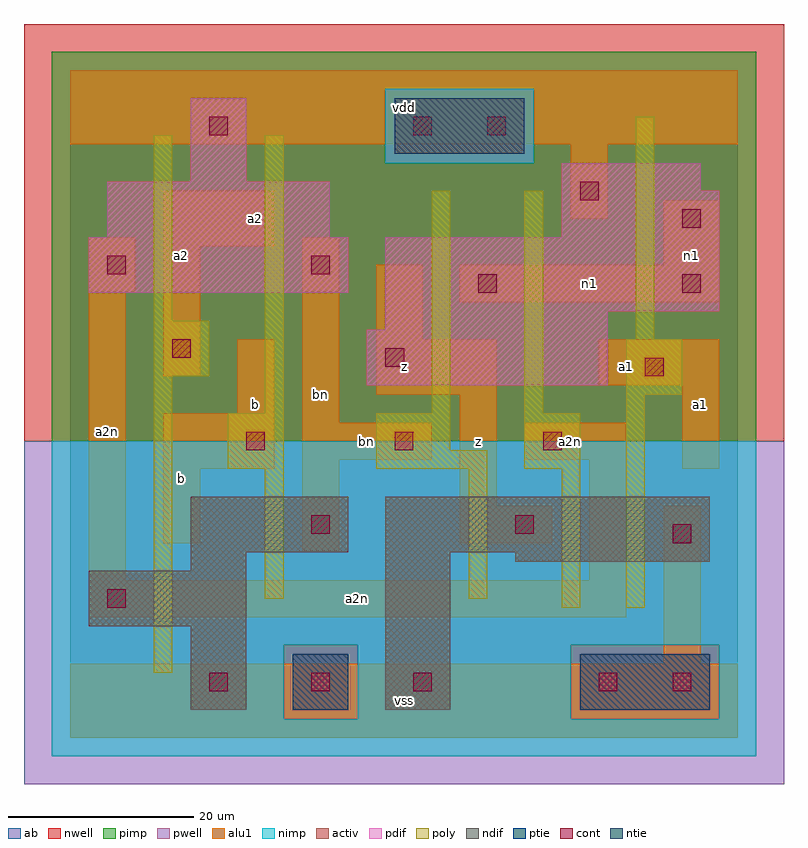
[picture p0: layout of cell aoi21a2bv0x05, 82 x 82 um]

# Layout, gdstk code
import gdstk
lib = gdstk.Library(unit=1e-6, precision=1e-09)
def R(c, l, rs):  # rectangles x0, y0, x1, y1
    for r in rs: c.add(gdstk.rectangle(r[:2], r[2:], *l))
def A(c, l, x, y, w, h, nx, ny, dx, dy):  # array of equal rectangles
    R(c, l, [(x+i*dx, y+j*dy, x+i*dx+w, y+j*dy+h) for i in range(nx) for j in range(ny)])
ndif = (3, 0)
pdif = (4, 0)
ntie = (5, 0)
ptie = (6, 0)
cont = (25, 0)
pwell = (41, 0)
nwell = (42, 0)
activ = (43, 0)
pimp = (44, 0)
nimp = (45, 0)
poly = (46, 0)
alu1 = (49, 0)
ab = (63, 0)

aoi21a2bv0x05 = lib.new_cell('aoi21a2bv0x05')
R(aoi21a2bv0x05, ndif, [(13,3,19,12), (34,3,41,20), (2,12,19,18), (13,18,19,20), (48,19,69,20), (13,20,30,26), (34,20,69,26)])
R(aoi21a2bv0x05, pdif, [(32,38,58,44), (34,44,58,46), (34,46,70,54), (2,48,30,54), (4,54,28,60), (53,54,70,59), (53,59,68,62), (13,60,19,69)])
R(aoi21a2bv0x05, ntie, [(35,63,49,69)])
R(aoi21a2bv0x05, ptie, [(24,3,30,9), (55,3,69,9)])
A(aoi21a2bv0x05, cont, 15, 5, 2, 2, 3, 1, 11, 0)
A(aoi21a2bv0x05, cont, 19, 31, 2, 2, 3, 1, 16, 0)
R(aoi21a2bv0x05, cont, [(57,5,59,7), (65,5,67,7), (4,14,6,16), (65,21,67,23), (26,22,28,24), (48,22,50,24), (62,39,64,41), (34,40,36,42), (11,41,13,43), (44,48,46,50), (66,48,68,50), (4,50,6,52), (26,50,28,52), (66,55,68,57), (55,58,57,60), (15,65,17,67), (37,65,39,67), (45,65,47,67)])
R(aoi21a2bv0x05, pwell, [(-5,-5,77,32)])
R(aoi21a2bv0x05, nwell, [(-5,32,77,77)])
R(aoi21a2bv0x05, activ, [(13,3,19,12), (24,3,30,9), (34,3,41,20), (55,3,69,9), (2,12,19,18), (13,18,19,20), (48,19,69,20), (13,20,30,26), (34,20,69,26), (32,38,58,44), (34,44,58,46), (34,46,70,54), (2,48,30,54), (4,54,28,60), (53,54,70,59), (53,59,68,62), (13,60,19,69), (35,63,49,69)])
R(aoi21a2bv0x05, pimp, [(23,2,31,10), (54,2,70,10), (-2,32,74,62), (-2,62,34,70), (50,62,74,70), (-2,70,74,74)])
R(aoi21a2bv0x05, nimp, [(-2,-2,74,2), (-2,2,23,10), (31,2,54,10), (70,2,74,10), (-2,10,74,32), (34,62,50,70)])
R(aoi21a2bv0x05, poly, [(9,7,11,39), (53,14,55,29), (60,14,62,37), (21,15,23,29), (43,15,45,29), (17,29,23,35), (33,29,45,31), (49,29,55,35), (33,31,41,35), (21,35,23,65), (39,35,41,59), (49,35,51,59), (60,37,66,43), (9,39,15,45), (61,43,63,67), (9,45,11,65)])
R(aoi21a2bv0x05, alu1, [(0,0,72,8), (64,8,68,25), (2,13,60,17), (2,17,6,48), (56,17,60,30), (25,20,29,30), (10,21,14,29), (42,21,52,25), (42,25,46,37), (10,29,22,35), (66,29,70,38), (25,30,39,34), (49,30,60,34), (25,34,29,54), (18,35,22,43), (33,37,46,43), (57,38,70,43), (10,39,14,53), (33,43,38,51), (42,47,70,51), (2,48,7,54), (64,51,70,58), (10,53,22,59), (54,56,58,64), (0,64,72,72)])
R(aoi21a2bv0x05, ab, [(0,0,72,72)])
aoi21a2bv0x05.add(gdstk.Label('a2n', (4,33), layer=49, texttype=0))
aoi21a2bv0x05.add(gdstk.Label('bn', (27,37), layer=49, texttype=0))
aoi21a2bv0x05.add(gdstk.Label('bn', (32,32), layer=49, texttype=0))
aoi21a2bv0x05.add(gdstk.Label('a2n', (31,15), layer=49, texttype=0))
aoi21a2bv0x05.add(gdstk.Label('a2n', (54,32), layer=49, texttype=0))
aoi21a2bv0x05.add(gdstk.Label('n1', (56,49), layer=49, texttype=0))
aoi21a2bv0x05.add(gdstk.Label('n1', (67,52), layer=49, texttype=0))
aoi21a2bv0x05.add(gdstk.Label('b', (12,28), layer=49, texttype=0))
aoi21a2bv0x05.add(gdstk.Label('a2', (12,52), layer=49, texttype=0))
aoi21a2bv0x05.add(gdstk.Label('b', (20,36), layer=49, texttype=0))
aoi21a2bv0x05.add(gdstk.Label('a2', (20,56), layer=49, texttype=0))
aoi21a2bv0x05.add(gdstk.Label('vss', (36,4), layer=49, texttype=0))
aoi21a2bv0x05.add(gdstk.Label('z', (44,32), layer=49, texttype=0))
aoi21a2bv0x05.add(gdstk.Label('z', (36,40), layer=49, texttype=0))
aoi21a2bv0x05.add(gdstk.Label('vdd', (36,68), layer=49, texttype=0))
aoi21a2bv0x05.add(gdstk.Label('a1', (60,40), layer=49, texttype=0))
aoi21a2bv0x05.add(gdstk.Label('a1', (68,36), layer=49, texttype=0))

lib.write_gds('aoi21a2bv0x05.gds')
